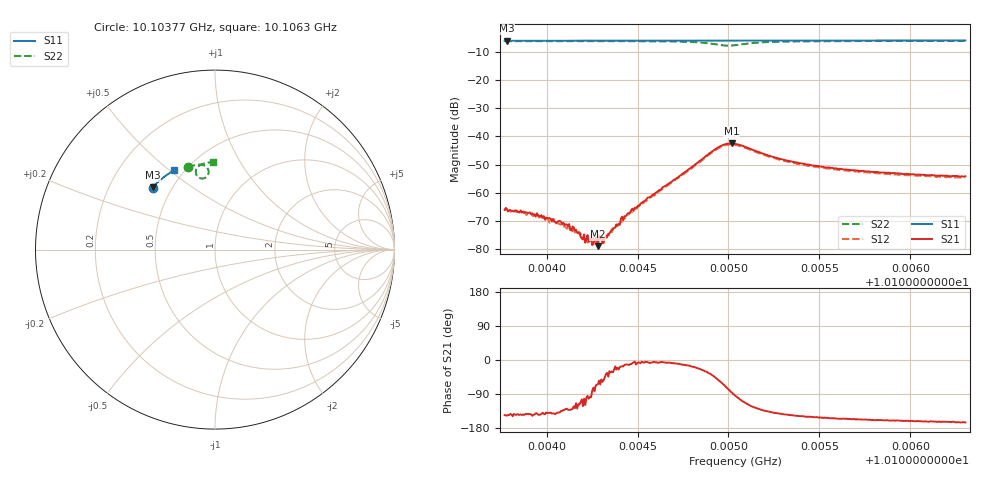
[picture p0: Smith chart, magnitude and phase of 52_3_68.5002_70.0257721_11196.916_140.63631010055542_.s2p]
#  HZ  S  RI  R  50.00
! Rohde & Schwarz Vector Network Analyzer
! Rohde-Schwarz,ZNB20-2Port,1311601062101988,3.16
! Created: UTC 3/20/2024, 4:50:53 PM
! freq[Hz]  re:S11  im:S11  re:S21  im:S21  re:S12  im:S12  re:S22  im:S22
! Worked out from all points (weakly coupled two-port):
!   401 points, 10.10377 GHz to 10.1063 GHz, reference 50 ohm
!   highest |S21| = -42.51 dB at 10.10502 GHz (marker M1); lowest = -78.9 dB at 10.10428 GHz (marker M2)
!   lowest |S11| = -6.2 dB at 10.10378 GHz (marker M3), VSWR 2.93, Z = 19.6 + j17.9 ohm
!   |S11| at or under -10 dB: nowhere
!   |S22| runs from -7.9 to -6.2 dB; largest |S21 - S12| = 0.00077
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1.0103769e10  -0.3481 0.3458  -0.000413 -0.000284  -0.000371 -0.000328  -0.1502 0.459
1.0103781e10  -0.3474 0.3464  -0.000434 -0.000285  -0.000361 -0.000342  -0.1495 0.4593
1.0103946e10  -0.3407 0.3538  -0.000339 -0.000276  -0.000274 -0.000284  -0.1382 0.4631
1.0104079e10  -0.3351 0.3595  -0.000215 -0.000219  -0.000164 -0.000219  -0.1288 0.4661
1.0104155e10  -0.3318 0.3628  -0.000131 -0.000173  -0.000122 -0.000156  -0.1231 0.4676
1.0104193e10  -0.3301 0.3645  -3.73e-05 -0.000151  -5.78e-05 -0.000176  -0.1204 0.4682
1.01042e10  -0.3298 0.3648  -7.9e-05 -0.000127  -2.79e-05 -0.000152  -0.1198 0.4685
1.0104225e10  -0.3287 0.3661  -1.47e-05 -0.000178  -9.22e-06 -0.000132  -0.1178 0.469
1.0104231e10  -0.3285 0.3661  -2.85e-05 -0.000133  1.82e-05 -0.000137  -0.1173 0.4691
1.0104244e10  -0.3278 0.3667  -2.33e-05 -0.000156  -1.19e-05 -0.000152  -0.1164 0.4693
1.0104282e10  -0.3262 0.3684  5.02e-05 -0.000102  4.38e-05 -0.000123  -0.1134 0.4701
1.010432e10  -0.3246 0.3699  0.000116 -0.000116  0.000112 -0.000119  -0.1102 0.4707
1.0104421e10  -0.3202 0.3742  0.000318 -9.77e-05  0.000327 -5.59e-05  -0.1015 0.4722
1.0104516e10  -0.3158 0.378  0.000638 -9.43e-05  0.000641 -2.2e-05  -0.0922 0.4732
1.0104618e10  -0.3112 0.3822  0.00111 -0.000122  0.00106 -3.31e-05  -0.0809 0.4732
1.0104934e10  -0.2963 0.3943  0.00401 -0.00458  0.00426 -0.00403  -0.0375 0.4209
1.0105017e10  -0.2927 0.397  0.000601 -0.00746  0.00124 -0.00709  -0.0771 0.3965
1.0105036e10  -0.2919 0.3981  -0.000457 -0.00737  0.000197 -0.00711  -0.0879 0.4
1.0105277e10  -0.2806 0.4073  -0.00316 -0.00254  -0.0028 -0.0027  -0.0931 0.4632
1.010546e10  -0.2715 0.4137  -0.00263 -0.0015  -0.00245 -0.00167  -0.0738 0.4752
1.0105885e10  -0.2502 0.4284  -0.00211 -0.000777  -0.00193 -0.000909  -0.0388 0.4847
1.0106303e10  -0.2285 0.4413  -0.0019 -0.000512  -0.00175 -0.000661  -0.00904 0.4882
